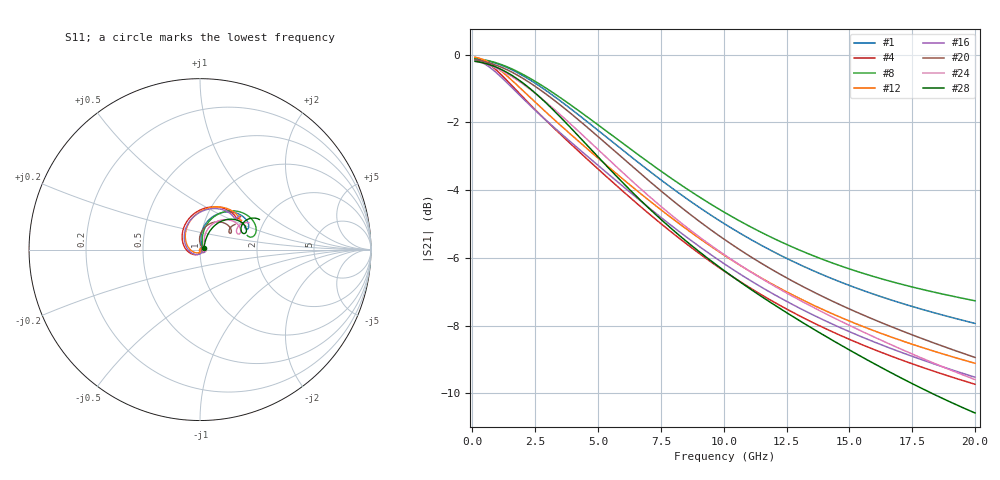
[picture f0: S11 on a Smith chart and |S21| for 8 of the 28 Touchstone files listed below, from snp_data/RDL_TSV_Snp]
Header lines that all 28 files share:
! Touchstone file exported from HFSS 2024.1.0
!  Design:  RDL_TSV
!  Setup:  Setup1
!  Solution:  Sweep
! Variables:
# GHz S MA R 50.000000
! Terminal data exported
! Port[1] = TM1_1_T1
! Port[2] = TM1_4_T1
Fixed: hbump = 3um, p = 40, rhole = 10um, t = 450um, viad = 10um, xbump = 18um
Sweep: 100 MHz to 20 GHz
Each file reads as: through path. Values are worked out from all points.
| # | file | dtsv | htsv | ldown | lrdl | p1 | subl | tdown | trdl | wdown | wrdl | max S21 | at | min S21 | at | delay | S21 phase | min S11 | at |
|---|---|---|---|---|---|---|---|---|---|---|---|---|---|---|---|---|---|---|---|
| 1 | dut0.s2p | 5.08um | 99.49um | 417.9um | 212.83um | 51.03um | 2105.02um | 3.07um | 4.34um | 26.94um | 14.63um | -0.13 dB | 100 MHz | -7.9 dB | 20 GHz | 22.3 ps | -104 deg at 10.1 GHz | -38.2 dB | 100 MHz |
| 2 | dut1.s2p | 10.61um | 98.44um | 278.59um | 335.56um | 49.97um | 2178.01um | 4um | 2.72um | 25.09um | 27.59um | -0.10 dB | 100 MHz | -8.5 dB | 20 GHz | 22.9 ps | -106 deg at 10.1 GHz | -38.9 dB | 100 MHz |
| 3 | dut2.s2p | 12.22um | 78.29um | 240.35um | 261.97um | 45.14um | 1768.93um | 4.33um | 2.23um | 27.26um | 13.59um | -0.13 dB | 100 MHz | -7.2 dB | 20 GHz | 19.6 ps | -90 deg at 10.1 GHz | -36.4 dB | 100 MHz |
| 4 | dut3.s2p | 13.84um | 89.66um | 361.25um | 345.82um | 59.86um | 2467.03um | 4.59um | 3.9um | 23.58um | 24.41um | -0.09 dB | 100 MHz | -9.7 dB | 20 GHz | 24.8 ps | -117 deg at 10.1 GHz | -39.7 dB | 100 MHz |
| 5 | dut4.s2p | 10.47um | 62.48um | 594.47um | 379.79um | 43.93um | 3302.57um | 2.96um | 4.16um | 24.6um | 22.75um | -0.14 dB | 100 MHz | -8.9 dB | 20 GHz | 28.3 ps | -127 deg at 10.1 GHz | -45.1 dB | 900 MHz |
| 6 | dut6.s2p | 13.36um | 87.99um | 141.39um | 460.73um | 50um | 2267.09um | 2.23um | 3.99um | 22.82um | 14.58um | -0.13 dB | 100 MHz | -9.3 dB | 20 GHz | 24.3 ps | -113 deg at 10.1 GHz | -37.0 dB | 400 MHz |
| 7 | dut7.s2p | 9.18um | 60.91um | 226.66um | 333.37um | 45.67um | 2013.46um | 3.65um | 3.13um | 23.04um | 25.31um | -0.09 dB | 100 MHz | -6.4 dB | 20 GHz | 18.6 ps | -85 deg at 10.1 GHz | -44.9 dB | 800 MHz |
| 8 | dut8.s2p | 6.12um | 51.68um | 480.85um | 273.76um | 51.59um | 2537.59um | 3.13um | 3.93um | 24.45um | 21.81um | -0.11 dB | 100 MHz | -7.3 dB | 20 GHz | 21.4 ps | -99 deg at 10.1 GHz | -37.4 dB | 100 MHz |
| 9 | dut9.s2p | 11.55um | 77.41um | 462.15um | 146.81um | 40.06um | 1973.69um | 4.66um | 3.62um | 29.84um | 15.93um | -0.08 dB | 100 MHz | -6.4 dB | 20 GHz | 19.5 ps | -87 deg at 10.1 GHz | -40.2 dB | 100 MHz |
| 10 | dut10.s2p | 14.38um | 98.25um | 299.06um | 452.23um | 46.89um | 2706.1um | 3.38um | 2.06um | 17.73um | 17.19um | -0.21 dB | 100 MHz | -11.0 dB | 20 GHz | 29.6 ps | -136 deg at 10.1 GHz | -32.6 dB | 100 MHz |
| 11 | dut12.s2p | 14.57um | 55.06um | 336.08um | 370.81um | 57.07um | 2491.48um | 3.25um | 3.76um | 28.15um | 25.3um | -0.09 dB | 100 MHz | -8.0 dB | 20 GHz | 21.9 ps | -102 deg at 10.1 GHz | -40.0 dB | 400 MHz |
| 12 | dut13.s2p | 11.23um | 92.6um | 226.6um | 409.04um | 58.41um | 2315.96um | 4.14um | 4.96um | 19.79um | 25.35um | -0.08 dB | 100 MHz | -9.1 dB | 20 GHz | 23.4 ps | -110 deg at 10.1 GHz | -41.1 dB | 100 MHz |
| 13 | dut14.s2p | 9.48um | 80.71um | 373.65um | 358.43um | 41.41um | 2554.67um | 2.19um | 2.39um | 28.99um | 24.47um | -0.14 dB | 100 MHz | -7.8 dB | 20 GHz | 24.3 ps | -109 deg at 10.1 GHz | -35.9 dB | 100 MHz |
| 14 | dut15.s2p | 13.07um | 52.8um | 481.26um | 151.53um | 48.98um | 2049.9um | 2.49um | 3.73um | 24.63um | 23.95um | -0.10 dB | 100 MHz | -6.7 dB | 20 GHz | 18.6 ps | -86 deg at 10.1 GHz | -39.2 dB | 500 MHz |
| 15 | dut18.s2p | 7.4um | 86.7um | 334.45um | 435.83um | 45.8um | 2746.67um | 2.68um | 3.1um | 10.32um | 29.52um | -0.18 dB | 100 MHz | -9.0 dB | 20 GHz | 26.5 ps | -121 deg at 10.1 GHz | -33.7 dB | 800 MHz |
| 16 | dut19.s2p | 14.71um | 78.07um | 401.34um | 341.16um | 56.25um | 2568.66um | 2.07um | 2.05um | 27.91um | 24.04um | -0.16 dB | 100 MHz | -9.5 dB | 20 GHz | 25.3 ps | -117 deg at 10.1 GHz | -35.0 dB | 100 MHz |
| 17 | dut21.s2p | 9.97um | 82.16um | 602.67um | 364.69um | 49.92um | 3266.77um | 3.88um | 2.69um | 22.49um | 18.34um | -0.17 dB | 100 MHz | -10.5 dB | 20 GHz | 30.3 ps | -138 deg at 10.1 GHz | -34.6 dB | 100 MHz |
| 18 | dut22.s2p | 10.29um | 88.58um | 222.26um | 571.69um | 44.59um | 2953.54um | 2.93um | 2.26um | 26.09um | 12.64um | -0.28 dB | 100 MHz | -10.6 dB | 20 GHz | 29.7 ps | -135 deg at 10.1 GHz | -30.2 dB | 100 MHz |
| 19 | dut24.s2p | 9.03um | 65.6um | 642.56um | 162.16um | 56.14um | 2576.32um | 3.97um | 2.03um | 23.85um | 12.89um | -0.15 dB | 100 MHz | -8.5 dB | 20 GHz | 23.5 ps | -109 deg at 10.1 GHz | -35.4 dB | 100 MHz |
| 20 | dut27.s2p | 5.17um | 91.64um | 570.17um | 337.41um | 46.14um | 3060.15um | 2.41um | 3.24um | 28.45um | 28um | -0.15 dB | 100 MHz | -8.9 dB | 20 GHz | 28.7 ps | -129 deg at 10.1 GHz | -35.4 dB | 100 MHz |
| 21 | dut28.s2p | 7.61um | 81.86um | 331.42um | 101.41um | 46.97um | 1399.9um | 2.83um | 3.79um | 28.44um | 28.77um | -0.07 dB | 100 MHz | -5.7 dB | 20 GHz | 15.4 ps | -70 deg at 10.1 GHz | -42.2 dB | 100 MHz |
| 22 | dut31.s2p | 8.34um | 76.74um | 368.2um | 253.01um | 44.7um | 2116.64um | 3.32um | 4.75um | 14.23um | 23.73um | -0.11 dB | 100 MHz | -7.5 dB | 20 GHz | 20.7 ps | -96 deg at 10.1 GHz | -41.2 dB | 800 MHz |
| 23 | dut33.s2p | 14.07um | 87.42um | 285.91um | 670.89um | 56.87um | 3541.29um | 3.41um | 3.19um | 14.28um | 26.36um | -0.16 dB | 100 MHz | -12.4 dB | 20 GHz | 33.5 ps | -155 deg at 10.1 GHz | -39.0 dB | 700 MHz |
| 24 | dut34.s2p | 9.25um | 55um | 335.76um | 686.34um | 43.75um | 3752.64um | 4.36um | 2.45um | 17.57um | 23.09um | -0.20 dB | 100 MHz | -9.6 dB | 20 GHz | 31.2 ps | -139 deg at 10.1 GHz | -32.8 dB | 100 MHz |
| 25 | dut36.s2p | 11.73um | 88.05um | 350.09um | 698.75um | 48.22um | 3845.27um | 4.53um | 2.47um | 24.59um | 16.92um | -0.24 dB | 100 MHz | -12.6 dB | 20 GHz | 36.2 ps | -164 deg at 10.1 GHz | -32.2 dB | 800 MHz |
| 26 | dut37.s2p | 12.59um | 70.98um | 680.02um | 125.92um | 46.8um | 2543.74um | 4.2um | 2.47um | 27.78um | 29.53um | -0.09 dB | 100 MHz | -7.9 dB | 20 GHz | 23.2 ps | -105 deg at 10.1 GHz | -39.5 dB | 100 MHz |
| 27 | dut38.s2p | 14.04um | 95.3um | 408.77um | 453.55um | 54.53um | 3040.51um | 2.47um | 3.97um | 19.66um | 20.47um | -0.16 dB | 100 MHz | -11.6 dB | 20 GHz | 30.6 ps | -142 deg at 10.1 GHz | -35.9 dB | 500 MHz |
| 28 | dut39.s2p | 5.66um | 92.7um | 620.94um | 429.58um | 46.07um | 3581.14um | 4.18um | 3.28um | 19.71um | 14.61um | -0.20 dB | 100 MHz | -10.6 dB | 20 GHz | 33.1 ps | -147 deg at 10.1 GHz | -32.3 dB | 100 MHz |
